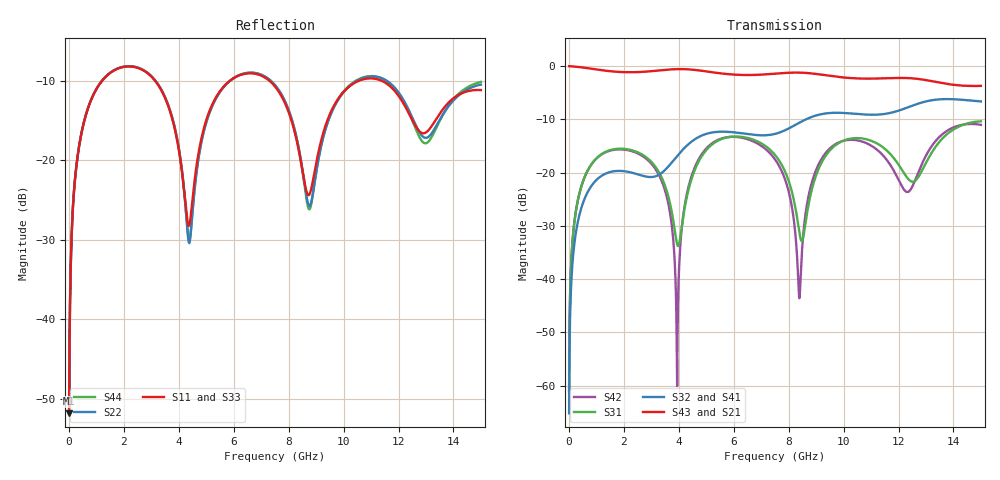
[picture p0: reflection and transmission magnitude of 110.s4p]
! Created with skrf 1.8.0 (http://scikit-rf.org).
# GHz S RI R 50.0
!freq ReS11 ImS11 ReS12 ImS12 ReS13 ImS13
! ReS14 ImS14
! ReS21 ImS21 ReS22 ImS22 ReS23 ImS23
! ReS24 ImS24
! ReS31 ImS31 ReS32 ImS32 ReS33 ImS33
! ReS34 ImS34
! ReS41 ImS41 ReS42 ImS42 ReS43 ImS43
! ReS44 ImS44
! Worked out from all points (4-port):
!   2499 points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, 5 MHz to 15 GHz, reference 50 ohm
!   strongest paths, dB at 5 MHz, 3.476 GHz, 7.19 GHz, 11.1 GHz, 15 GHz:
!     S43: 0.0, -0.7, -1.5, -2.4, -3.7
!     S21: 0.0, -0.7, -1.6, -2.4, -3.7
!     S32: -65.2, -19.6, -13.0, -9.1, -6.6
!     S41: -65.2, -19.6, -13.0, -9.2, -6.7
!     S31: -61.1, -22.2, -15.2, -14.2, -10.4
!     S42: -61.1, -23.0, -15.7, -15.3, -11.0
!   lowest |S11| = -51.8 dB at 5 MHz (marker M1), VSWR 1.01, Z = 50.2 + j0.155 ohm
!   |S11| at or under -10 dB: 3.128 GHz to 5.869 GHz (2.741 GHz wide, 60.9 % of centre); 7.288 GHz to 10.58 GHz (3.293 GHz wide, 36.9 % of centre); 11.37 GHz to end of sweep (the widest 3 of 4)
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0.005  0.00205 0.00154  0.9979 -0.00398  0.000106 0.000873  -0.000103 -0.000538
       0.9979 -0.00398  0.00205 0.00154  -0.000103 -0.000538  0.000106 0.000873
       0.000106 0.000873  -0.000103 -0.000538  0.00205 0.00154  0.9979 -0.00398
       -0.000103 -0.000538  0.000106 0.000873  0.9979 -0.00398  0.00205 0.00154
1.269279  0.2749 0.1726  0.5345 -0.7355  0.1406 0.0616  -0.0957 -0.00359
          0.5345 -0.7355  0.2763 0.1716  -0.0958 -0.00351  0.1366 0.0672
          0.1406 0.0616  -0.0958 -0.00351  0.2749 0.1726  0.5345 -0.7355
          -0.0957 -0.00359  0.1366 0.0672  0.5345 -0.7355  0.2763 0.1716
3.939141  0.0714 -0.1123  -0.8602 -0.3693  -0.0189 -0.00964  -0.0525 0.1329
          -0.8602 -0.3693  0.0649 -0.1188  -0.0517 0.1332  0.000727 0.000668
          -0.0189 -0.00964  -0.0517 0.1332  0.0709 -0.1133  -0.8601 -0.3693
          -0.0525 0.1329  0.000727 0.000668  -0.8601 -0.3693  0.066 -0.1192
5.052105  0.134 0.1346  -0.8068 0.3679  0.1126 0.125  0.1289 0.1932
          -0.8068 0.3679  0.1247 0.1361  0.1303 0.1929  0.1213 0.1244
          0.1126 0.125  0.1303 0.1929  0.1316 0.1344  -0.807 0.368
          0.1289 0.1932  0.1213 0.1244  -0.807 0.368  0.1262 0.1344
8.809921  0.0623 0.017  0.8458 0.1215  0.00448 0.0636  0.0383 -0.3286
          0.8458 0.1215  0.0525 0.00979  0.0328 -0.3292  0.0182 0.0728
          0.00448 0.0636  0.0328 -0.3292  0.0642 0.0186  0.846 0.1197
          0.0383 -0.3286  0.0182 0.0728  0.846 0.1197  0.0504 0.0111
11.56732  0.2949 -0.068  -0.1087 -0.7607  0.065 -0.1479  -0.3452 0.088
          -0.1087 -0.7607  0.3063 -0.0735  -0.3442 0.0969  0.0656 -0.1146
          0.065 -0.1479  -0.3442 0.0969  0.2941 -0.061  -0.1116 -0.7605
          -0.3452 0.088  0.0656 -0.1146  -0.1116 -0.7605  0.3045 -0.0812
15  0.2729 -0.0375  -0.4102 0.5114  0.3024 -0.00737  0.4225 0.1915
    -0.4102 0.5114  0.2971 -0.0242  0.4279 0.1832  0.2776 0.0399
    0.3024 -0.00737  0.4279 0.1832  0.2809 -0.0353  -0.4034 0.5118
    0.4225 0.1915  0.2776 0.0399  -0.4034 0.5118  0.3096 -0.0173
